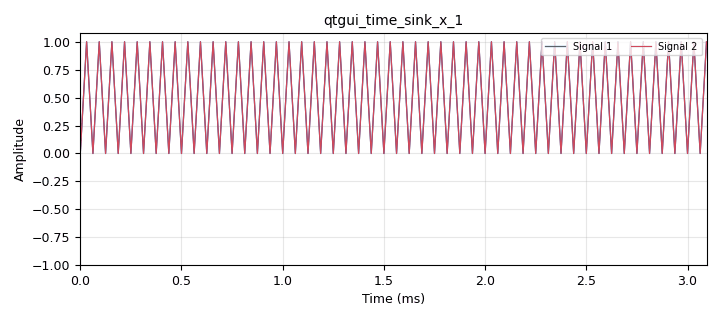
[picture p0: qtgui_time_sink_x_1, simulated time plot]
options:
  parameters:
    author: akansha
    generate_options: qt_gui
    generator_class_name: PythonQtGuiGenerator
    generator_module: gnuradio.grc.workflows.python_qt_gui
    id: default
    output_language: python
    title: Not titled yet
  states: {}

blocks:
- name: samp_rate
  id: variable
  parameters:
    value: '32000'
  states: {}
- name: analog_noise_source_x_0_0
  id: analog_noise_source_x
  parameters:
    amp: '0.3'
    noise_type: analog.GR_GAUSSIAN
    seed: '0'
    type: float
  states: {}
- name: analog_random_source_x_0
  id: analog_random_source_x
  parameters:
    max: '1'
    min: '0'
    num_samps: '1000'
    repeat: 'True'
    type: int
  states: {}
- name: blocks_add_xx_0_0
  id: blocks_add_xx
  parameters:
    type: float
  states: {}
- name: blocks_char_to_float_0
  id: blocks_char_to_float
  parameters:
    scale: '1'
  states: {}
- name: blocks_throttle2_0
  id: blocks_throttle2
  parameters:
    samples_per_second: samp_rate
    type: float
  states: {}
- name: digital_binary_slicer_fb_0
  id: digital_binary_slicer_fb
  parameters: {}
  states: {}
- name: digital_chunks_to_symbols_xx_0
  id: digital_chunks_to_symbols_xx
  parameters:
    dimension: '2'
    in_type: int
    out_type: float
    symbol_table: '[-1,1]'
  states: {}
- name: qtgui_time_sink_x_1
  id: qtgui_time_sink_x
  parameters:
    nconnections: '2'
    size: '100'
    srate: samp_rate
    type: float
  states: {}

connections:
- [analog_noise_source_x_0_0, '0', blocks_add_xx_0_0, '1']
- [analog_random_source_x_0, '0', digital_chunks_to_symbols_xx_0, '0']
- [blocks_add_xx_0_0, '0', digital_binary_slicer_fb_0, '0']
- [blocks_char_to_float_0, '0', qtgui_time_sink_x_1, '0']
- [blocks_char_to_float_0, '0', qtgui_time_sink_x_1, '1']
- [blocks_throttle2_0, '0', blocks_add_xx_0_0, '0']
- [digital_binary_slicer_fb_0, '0', blocks_char_to_float_0, '0']
- [digital_chunks_to_symbols_xx_0, '0', blocks_throttle2_0, '0']

metadata:
  file_format: 1
  grc_version: v3.11.0.0git-1083-ge2c22a2b
